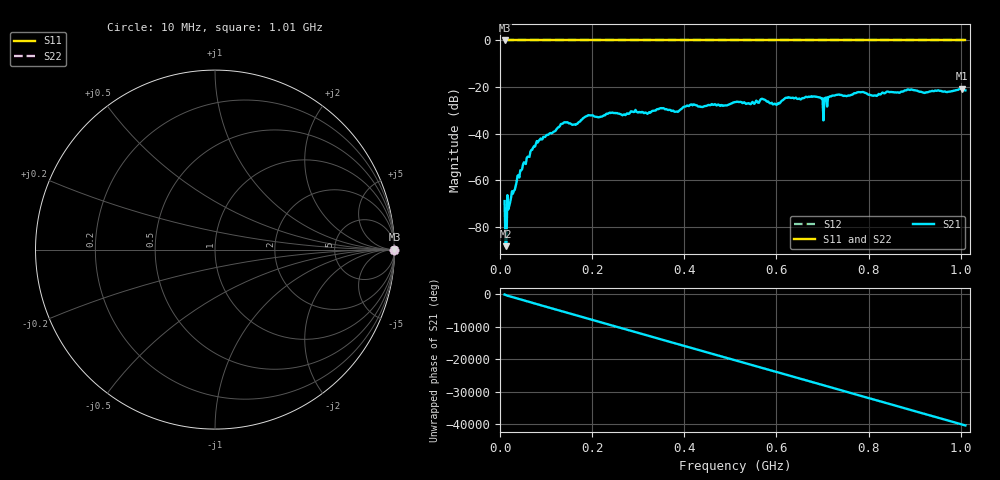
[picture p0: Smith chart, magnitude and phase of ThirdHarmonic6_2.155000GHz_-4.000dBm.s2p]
! 8/17/2025 1:43:32 AM
! C:\ANRITSUVNA\TEMP\TEMP.S2P
! CHANNEL.1
! TR.MEASUREMENT
! RAW.DATA
! RF.CORRECTION.OFF
! AVERAGING.OFF
! IF.BANDWIDTH: 5KHZ
! SWEEPTYPE:  FREQ.SWEEP(Linear)
! Reference Plane Port Info
! PORT:  PORT1  PORT2
! DISTANCE:  0  m  0  m
! TIME:  0  s  0  s
! PHASE.OFFSET:  0  deg.  0  deg.
! LOSS:  0  dB  0  dB
! REF.LOSS:  0  dB  0  dB
! REF.FREQ:  0  Hz  0  Hz
! Power Info
! POWER:  -20  dBm  -20  dBm
! EFF.POWER:  -20  dBm  -20  dBm
! SOURCE.ATTEN:  0  dB  0  dB
! TEST.ATTEN:  0  dB  0  dB
# GHZ S RI R 50.0
! FREQ.GHZ  S11RE  S11IM  S21RE  S21IM  S12RE  S12IM  S22RE  S22IM
!; PortSelection: Port_12
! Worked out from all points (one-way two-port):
!   501 points, 10 MHz to 1.01 GHz, reference 50 ohm
!   highest |S21| = -20.71 dB at 1.002 GHz (marker M1); lowest = -88.3 dB at 12 MHz (marker M2)
!   lowest |S11| = 0.0 dB at 10 MHz (marker M3)
!   |S11| at or under -10 dB: nowhere
!   |S22| runs from 0.0 to 0.0 dB; largest |S21 - S12| = 1.1
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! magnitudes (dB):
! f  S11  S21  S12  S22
! 10 MHz  0.0  -68.9  0.0  0.0
! 12 MHz  0.0  -88.3  0.0  0.0
! 16 MHz  0.0  -66.4  0.0  0.0
! 20 MHz  0.0  -71.0  0.0  0.0
! 48 MHz  0.0  -55.3  0.0  0.0
! 82 MHz  0.0  -43.8  0.0  0.0
! 136 MHz  0.0  -35.7  0.0  0.0
! 178 MHz  0.0  -33.9  0.0  0.0
! 344 MHz  0.0  -29.5  0.0  0.0
! 382 MHz  0.0  -30.5  0.0  0.0
! 416 MHz  0.0  -27.5  0.0  0.0
! 510 MHz  0.0  -26.5  0.0  0.0
! 570 MHz  0.0  -25.1  0.0  0.0
! 598 MHz  0.0  -27.3  0.0  0.0
! 622 MHz  0.0  -24.6  0.0  0.0
! 678 MHz  0.0  -24.2  0.0  0.0
! 706 MHz  0.0  -24.7  0.0  0.0
! 708 MHz  0.0  -24.5  0.0  0.0
! 726 MHz  0.0  -23.6  0.0  0.0
! 844 MHz  0.0  -22.1  0.0  0.0
! 1.002 GHz  0.0  -20.7  0.0  0.0
! 1.01 GHz  0.0  -21.4  0.0  0.0
